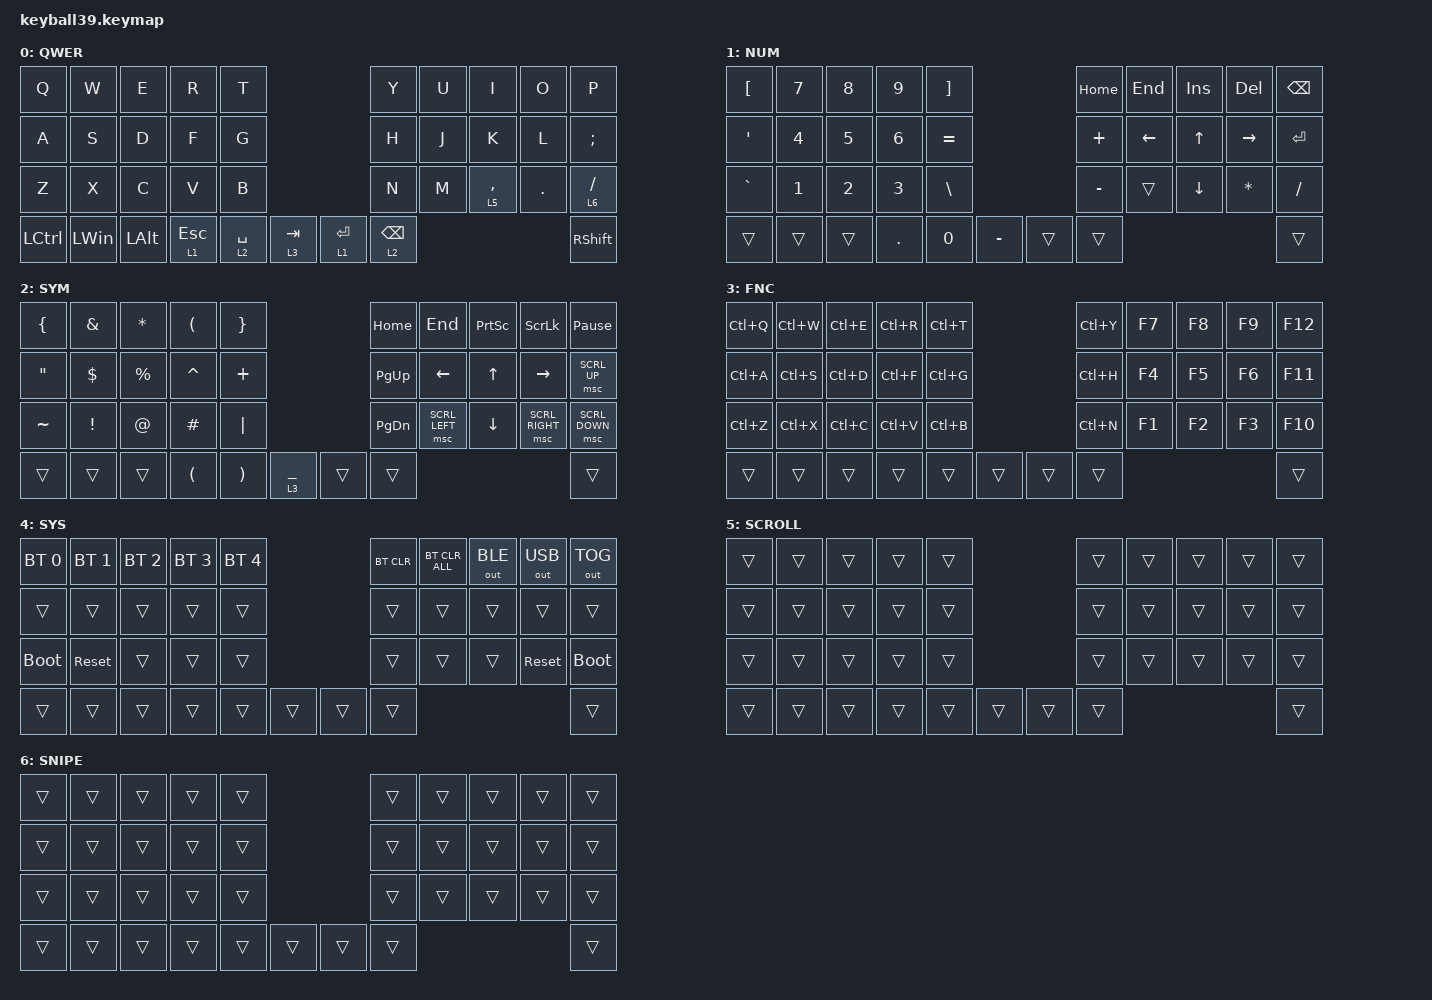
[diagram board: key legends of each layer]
#define DEFAULT 0
#define SNIPE   1
#define MOUSE   2
#define SCROLL  3
#define SYSTEM  4

#include <behaviors/mouse_keys.dtsi>
#include <dt-bindings/zmk/mouse.h>
#include <behaviors.dtsi>
#include <dt-bindings/zmk/bt.h>
#include <dt-bindings/zmk/keys.h>
#include <dt-bindings/zmk/outputs.h>
#include <dt-bindings/zmk/pointing.h>

&lt { quick-tap-ms = <180>; };

&mt {
    tapping-term-ms = <200>;
    flavor = "tap-preferred";
    quick-tap-ms = <150>;
};

&caps_word { continue-list = <UNDERSCORE MINUS>; };

/ {
    // custom shift using mod-morph 

    behaviors {
        cmqus: comma_question {
            compatible = "zmk,behavior-mod-morph";
            label = "COMMA_QUESTION";
            #binding-cells = <0>;
            bindings = <&kp COMMA>, <&kp QUESTION>;

            mods = <(MOD_LSFT|MOD_RSFT)>;
        };

        dtsmi: dot_semi {
            compatible = "zmk,behavior-mod-morph";
            label = "DOT_SEMI";
            #binding-cells = <0>;
            bindings = <&kp DOT>, <&kp SEMI>;

            mods = <(MOD_LSFT|MOD_RSFT)>;
        };
    };

    macros {
        Hiragana: Hiragana {
            compatible = "zmk,behavior-macro";
            #binding-cells = <0>;
            bindings = <&kp LC(SPACE)>;
            label = "HIRAGANA";
        };
    };

    combos {
        compatible = "zmk,combos";

        combo_lshift {
            bindings = <&kp LSHIFT>;
            key-positions = <12 13>;
            layers = <0 2 3>;
            timeout-ms = <50>;
            require-prior-idle-ms = <100>;
            slow-release;
        };

        combo_lctrl {
            bindings = <&kp LCTRL>;
            key-positions = <11 12>;
            layers = <0 2 3>;
            timeout-ms = <50>;
            require-prior-idle-ms = <100>;
            slow-release;
        };

        combo_lalt {
            bindings = <&kp LALT>;
            key-positions = <10 11>;
            layers = <0 2 3>;
            timeout-ms = <50>;
            require-prior-idle-ms = <100>;
            slow-release;
        };

        combo_lwin {
            bindings = <&kp LWIN>;
            key-positions = <13 14>;
            layers = <0 2 3>;
            timeout-ms = <50>;
            require-prior-idle-ms = <100>;
            slow-release;
        };

        combo_rshigt {
            bindings = <&kp RSHIFT>;
            key-positions = <16 17>;
            layers = <0 2 3>;
            timeout-ms = <50>;
            require-prior-idle-ms = <100>;
            slow-release;
        };

        combo_rctrl {
            bindings = <&kp LCTRL>;
            key-positions = <18 17>;
            layers = <0 2 3>;
            timeout-ms = <50>;
            require-prior-idle-ms = <100>;
            slow-release;
        };

        combo_ralt {
            bindings = <&kp LALT>;
            key-positions = <19 18>;
            layers = <0 2 3>;
            timeout-ms = <50>;
            require-prior-idle-ms = <100>;
            slow-release;
        };

        combo_rwin {
            bindings = <&kp RWIN>;
            key-positions = <16 15>;
            layers = <0 2 3>;
            timeout-ms = <50>;
            require-prior-idle-ms = <100>;
            slow-release;
        };

        combo_lshift_lctrl {
            bindings = <&kp LS(LCTRL)>;
            key-positions = <11 12 13>;
            layers = <0 2 3>;
            timeout-ms = <50>;
            require-prior-idle-ms = <100>;
            slow-release;
        };

        combo_lshift_lalt {
            bindings = <&kp LS(LALT)>;
            key-positions = <10 13 12>;
            layers = <0 2 3>;
            timeout-ms = <50>;
            require-prior-idle-ms = <100>;
            slow-release;
        };

        combo_lctrl_lalt {
            bindings = <&kp LC(LALT)>;
            key-positions = <11 12 10>;
            layers = <0 2 3>;
            timeout-ms = <50>;
            require-prior-idle-ms = <100>;
            slow-release;
        };

        combo_lctrl_lwin {
            bindings = <&kp LC(LWIN)>;
            key-positions = <11 13 12 10>;
            layers = <0 2 3>;
            timeout-ms = <50>;
            require-prior-idle-ms = <100>;
            slow-release;
        };

        combo_rctrl_rwin {
            bindings = <&kp LC(LWIN)>;
            key-positions = <16 17 18 19>;
            layers = <0 2 3>;
            timeout-ms = <50>;
            require-prior-idle-ms = <100>;
            slow-release;
        };

        combo_rshift_rctrl {
            bindings = <&kp LS(LCTRL)>;
            key-positions = <18 17 16>;
            layers = <0 2 3>;
            timeout-ms = <50>;
            require-prior-idle-ms = <100>;
            slow-release;
        };

        combo_rshift_ralt {
            bindings = <&kp LS(LALT)>;
            key-positions = <16 19 17>;
            layers = <0 2 3>;
            timeout-ms = <50>;
            require-prior-idle-ms = <100>;
            slow-release;
        };

        combo_rctrl_ralt {
            bindings = <&kp LC(LALT)>;
            key-positions = <18 17 19>;
            layers = <0 2 3>;
            timeout-ms = <50>;
            require-prior-idle-ms = <100>;
            slow-release;
        };

        combo_esc {
            bindings = <&kp ESC>;
            key-positions = <0 1>;
            layers = <0 2 3>;
            timeout-ms = <50>;
            require-prior-idle-ms = <100>;
        };

        combo_undo {
            bindings = <&kp LC(Z)>;
            key-positions = <20 21>;
            layers = <0>;
            timeout-ms = <50>;
            require-prior-idle-ms = <100>;
        };

        combo_cut {
            bindings = <&kp LC(X)>;
            key-positions = <21 23>;
            layers = <0>;
            timeout-ms = <50>;
            require-prior-idle-ms = <100>;
        };

        combo_copy {
            bindings = <&kp LC(C)>;
            key-positions = <21 22>;
            layers = <0>;
            timeout-ms = <50>;
            require-prior-idle-ms = <100>;
        };

        combo_paste {
            bindings = <&kp LC(V)>;
            key-positions = <22 23>;
            layers = <0>;
            timeout-ms = <50>;
            require-prior-idle-ms = <100>;
        };

        combo_redo {
            bindings = <&kp LC(Y)>;
            key-positions = <23 24>;
            layers = <0>;
            timeout-ms = <50>;
            require-prior-idle-ms = <100>;
        };

        combo_plus {
            bindings = <&kp PLUS>;
            key-positions = <4 14>;
            layers = <1>;
            timeout-ms = <50>;
            require-prior-idle-ms = <100>;
        };

        combo_minus {
            bindings = <&kp MINUS>;
            key-positions = <3 13>;
            layers = <1>;
            timeout-ms = <50>;
            require-prior-idle-ms = <100>;
        };

        combo_divide {
            bindings = <&kp SLASH>;
            key-positions = <1 11>;
            layers = <1>;
            timeout-ms = <50>;
            require-prior-idle-ms = <100>;
        };

        combo_multiply {
            bindings = <&kp ASTRK>;
            key-positions = <12 2>;
            layers = <1>;
            timeout-ms = <50>;
            require-prior-idle-ms = <100>;
        };

        combo_comma {
            bindings = <&kp COMMA>;
            key-positions = <23 22>;
            layers = <1>;
            timeout-ms = <50>;
            require-prior-idle-ms = <100>;
        };

        combo_dot {
            bindings = <&kp DOT>;
            key-positions = <22 21>;
            layers = <1>;
            timeout-ms = <50>;
            require-prior-idle-ms = <100>;
        };

        combo_enter {
            bindings = <&kp ENTER>;
            key-positions = <21 20>;
            layers = <1>;
            timeout-ms = <50>;
            require-prior-idle-ms = <100>;
        };

        combo_lang {
            bindings = <&kp RALT>;
            key-positions = <16 18>;
            layers = <0>;
            timeout-ms = <50>;
            require-prior-idle-ms = <100>;
        };

        combo_hanja {
            bindings = <&kp RCTRL>;
            key-positions = <17 19>;
            layers = <0>;
            timeout-ms = <50>;
            require-prior-idle-ms = <100>;
        };

        combo_lclk {
            bindings = <&mkp LCLK>;
            key-positions = <26 27>;
            timeout-ms = <50>;
            require-prior-idle-ms = <100>;
            layers = <0>;
            slow-release;
        };

        combo_rclk {
            bindings = <&mkp RCLK>;
            key-positions = <28 27>;
            timeout-ms = <50>;
            require-prior-idle-ms = <100>;
            layers = <0>;
            slow-release;
        };

        combo_mclk {
            bindings = <&mkp MCLK>;
            key-positions = <26 28 27>;
            timeout-ms = <50>;
            require-prior-idle-ms = <100>;
            layers = <0>;
            slow-release;
        };

        combo_prev {
            bindings = <&mkp MB4>;
            key-positions = <26 16>;
            timeout-ms = <50>;
            require-prior-idle-ms = <100>;
            layers = <0>;
        };

        combo_next {
            bindings = <&mkp MB5>;
            key-positions = <17 27>;
            timeout-ms = <50>;
            require-prior-idle-ms = <100>;
            layers = <0>;
        };

        combo_caps {
            bindings = <&kp CAPS>;
            key-positions = <11 13>;
            timeout-ms = <50>;
            require-prior-idle-ms = <100>;
            layers = <0>;
        };
    };

    keymap {
        compatible = "zmk,keymap";

        default_layer {
            label = "QWER";
            bindings = <
&kp Q      &kp W     &kp E     &kp R      &kp T                                &kp Y            &kp U  &kp I        &kp O    &kp P
&kp A      &kp S     &kp D     &kp F      &kp G                                &kp H            &kp J  &kp K        &kp L    &kp SEMI
&kp Z      &kp X     &kp C     &kp V      &kp B                                &kp N            &kp M  &lt 5 COMMA  &kp DOT  &lt 6 SLASH
&kp LCTRL  &kp LWIN  &kp LALT  &lt 1 ESC  &lt 2 SPACE  &lt 3 TAB  &lt 1 ENTER  &lt 2 BACKSPACE                               &kp RSHIFT
            >;
        };

        Num_layer {
            label = "NUM";
            bindings = <
&kp LEFT_BRACKET  &kp N7  &kp N8  &kp N9   &kp RBKT                      &kp HOME   &kp END   &kp INS   &kp DEL    &kp BACKSPACE
&kp SQT           &kp N4  &kp N5  &kp N6   &kp EQUAL                     &kp PLUS   &kp LEFT  &kp UP    &kp RIGHT  &kp ENTER
&kp GRAVE         &kp N1  &kp N2  &kp N3   &kp BSLH                      &kp MINUS  &trans    &kp DOWN  &kp ASTRK  &kp SLASH
&trans            &trans  &trans  &kp DOT  &kp N0     &kp MINUS  &trans  &trans                                    &trans
            >;
        };

        Sym_layer {
            label = "SYM";
            bindings = <
&kp LBRC   &kp AMPS  &kp ASTRK  &kp LPAR   &kp RBRC                       &kp HOME   &kp END         &kp PRINTSCREEN  &kp SCROLLLOCK   &kp PAUSE_BREAK
&kp DQT    &kp DLLR  &kp PRCNT  &kp CARET  &kp PLUS                       &kp PG_UP  &kp LEFT        &kp UP           &kp RIGHT        &msc SCRL_UP
&kp TILDE  &kp EXCL  &kp AT     &kp HASH   &kp PIPE                       &kp PG_DN  &msc SCRL_LEFT  &kp DOWN         &msc SCRL_RIGHT  &msc SCRL_DOWN
&trans     &trans    &trans     &kp LPAR   &kp RPAR  &lt 3 UNDER  &trans  &trans                                                       &trans
            >;
        };

        Fnc_layer {
            label = "FNC";
            bindings = <
&kp LC(Q)  &kp LC(W)  &kp LC(E)  &kp LC(R)  &kp LC(T)                  &kp LC(Y)  &kp F7  &kp F8  &kp F9  &kp F12
&kp LC(A)  &kp LC(S)  &kp LC(D)  &kp LC(F)  &kp LC(G)                  &kp LC(H)  &kp F4  &kp F5  &kp F6  &kp F11
&kp LC(Z)  &kp LC(X)  &kp LC(C)  &kp LC(V)  &kp LC(B)                  &kp LC(N)  &kp F1  &kp F2  &kp F3  &kp F10
&trans     &trans     &trans     &trans     &trans     &trans  &trans  &trans                             &trans
            >;
        };

        system_layer {
            label = "SYS";
            bindings = <
&bt BT_SEL 0  &bt BT_SEL 1  &bt BT_SEL 2  &bt BT_SEL 3  &bt BT_SEL 4                  &bt BT_CLR  &bt BT_CLR_ALL  &out OUT_BLE  &out OUT_USB  &out OUT_TOG
&trans        &trans        &trans        &trans        &trans                        &trans      &trans          &trans        &trans        &trans
&bootloader   &sys_reset    &trans        &trans        &trans                        &trans      &trans          &trans        &sys_reset    &bootloader
&trans        &trans        &trans        &trans        &trans        &trans  &trans  &trans                                                  &trans
            >;
        };

        Scr_layer {
            bindings = <
&trans  &trans  &trans  &trans  &trans                  &trans  &trans  &trans  &trans  &trans
&trans  &trans  &trans  &trans  &trans                  &trans  &trans  &trans  &trans  &trans
&trans  &trans  &trans  &trans  &trans                  &trans  &trans  &trans  &trans  &trans
&trans  &trans  &trans  &trans  &trans  &trans  &trans  &trans                          &trans
            >;

            label = "SCROLL";
        };

        Snipe_layer {
            bindings = <
&trans  &trans  &trans  &trans  &trans                  &trans  &trans  &trans  &trans  &trans
&trans  &trans  &trans  &trans  &trans                  &trans  &trans  &trans  &trans  &trans
&trans  &trans  &trans  &trans  &trans                  &trans  &trans  &trans  &trans  &trans
&trans  &trans  &trans  &trans  &trans  &trans  &trans  &trans                          &trans
            >;

            label = "SNIPE";
        };
    };

    conditional_layers {
        compatible = "zmk,conditional-layers";

        sys_layer {
            if-layers = <1 3>;
            then-layer = <4>;
        };
    };
};
